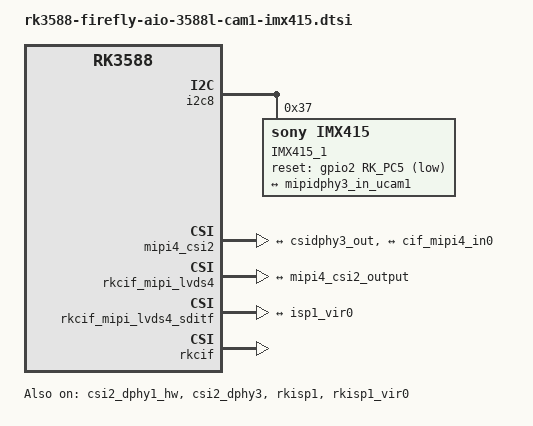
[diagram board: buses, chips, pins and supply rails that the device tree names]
// SPDX-License-Identifier: (GPL-2.0+ OR MIT)
/*
 * Copyright (c) 2021 Rockchip Electronics Co., Ltd.
 *
 */

&i2c8 {
	status = "okay";
	pinctrl-names = "default";
	pinctrl-0 = <&i2c8m4_xfer>;

	IMX415_1: IMX415-1@37 {
		compatible = "sony,imx415";
		reg = <0x37>;
		clocks = <&cru CLK_MIPI_CAMARAOUT_M3>;
		clock-names = "xvclk";
		pinctrl-names = "default";
		pinctrl-0 = <&mipim0_camera3_clk>;
		power-domains = <&power RK3588_PD_VI>;

		reset-gpios = <&gpio2 RK_PC5 GPIO_ACTIVE_LOW>;

		firefly,clkout-enabled-index = <1>;
		rockchip,camera-module-index = <1>;
		rockchip,camera-module-facing = "back";
		rockchip,camera-module-name = "CMK-OT2022-PX1";
		rockchip,camera-module-lens-name = "IR0147-50IRC-8M-F20";

		port {
			imx415_out1: endpoint {
				remote-endpoint = <&mipidphy3_in_ucam1>;
				data-lanes = <1 2 3 4>;
			};
		};
	};
};

&csi2_dphy1_hw { 
	status = "okay";
};


&csi2_dphy3 {
	status = "okay";
	ports {
		#address-cells = <1>;
		#size-cells = <0>;
		port@0 {
			reg = <0>;
			#address-cells = <1>;
			#size-cells = <0>;
			mipidphy3_in_ucam1: endpoint@1 {
				reg = <1>;
				remote-endpoint = <&imx415_out1>;
				data-lanes = <1 2 3 4>;
			};
		};
		port@1 {
			reg = <1>;
			#address-cells = <1>;
			#size-cells = <0>;

			csidphy3_out: endpoint@1 {
				reg = <1>;
				remote-endpoint = <&mipi4_csi2_input>;
			};
		};
	};
};

&mipi4_csi2 {
	status = "okay";
	ports {
		#address-cells = <1>;
		#size-cells = <0>;

		port@0 {
			reg = <0>;
			#address-cells = <1>;
			#size-cells = <0>;

			mipi4_csi2_input: endpoint@0 {
				reg = <0>;
				remote-endpoint = <&csidphy3_out>;
			};
		};

		port@1 {
			reg = <1>;
			#address-cells = <1>;
			#size-cells = <0>;

			mipi4_csi2_output: endpoint@0 {
				reg = <0>;
				remote-endpoint = <&cif_mipi4_in0>;
			};
		};
	};
};

&rkcif_mipi_lvds4 {
	status = "okay";
	port {
		cif_mipi4_in0: endpoint {
			remote-endpoint = <&mipi4_csi2_output>;
		};
	};
};

&rkcif_mipi_lvds4_sditf {
        status = "okay";
        port {
                mipi_lvds4_sditf: endpoint {
                        remote-endpoint = <&isp1_vir0>;
                };
        };
};

&rkisp1 {
        status = "okay";
};

&isp1_mmu {
        status = "okay";
};

&rkisp1_vir0 {
        status = "okay";
        port {
                #address-cells = <1>;
                #size-cells = <0>;
                isp1_vir0: endpoint@0 {
                        reg = <0>;
                        remote-endpoint = <&mipi_lvds4_sditf>;
                };
        };
};

&rkcif {
	status = "okay";
};

&rkcif_mmu {
	status = "okay";
};



